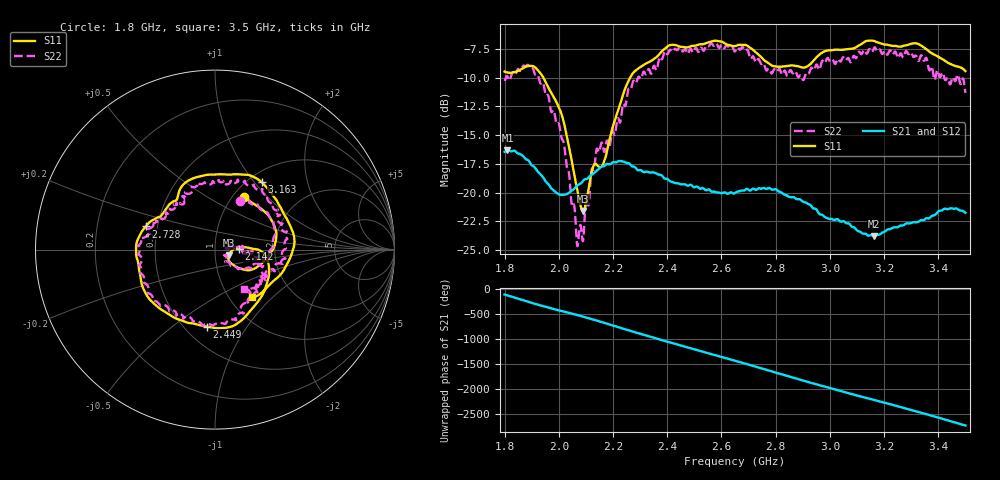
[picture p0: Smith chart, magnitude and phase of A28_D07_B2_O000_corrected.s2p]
! Created with skrf 1.9.0 (http://scikit-rf.org).
# Hz S RI R 50.0
!freq ReS11 ImS11 ReS21 ImS21 ReS12 ImS12 ReS22 ImS22
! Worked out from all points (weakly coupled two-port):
!   1601 points, 1.8 GHz to 3.5 GHz, reference 50 ohm
!   highest |S21| = -16.34 dB at 1.811 GHz (marker M1); lowest = -23.8 dB at 3.162 GHz (marker M2)
!   lowest |S11| = -21.6 dB at 2.09 GHz (marker M3), VSWR 1.18, Z = 58.2 - j3.63 ohm
!   |S11| at or under -10 dB: 1.943 GHz to 2.263 GHz (319.9 MHz wide, 15.2 % of centre)
!   |S22| runs from -24.7 to -7.0 dB; largest |S21 - S12| = 0.0028
!   S11 on the Smith chart (normalised r, x): 1.8 GHz: 1.13, +0.75; 2.142 GHz: 1.30, +0.01; 2.449 GHz: 0.64, -0.67; 2.728 GHz: 0.43, +0.13; 3.163 GHz: 1.15, +1.09; 3.5 GHz: 1.27, -0.76
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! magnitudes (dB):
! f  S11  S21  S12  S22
! 1.8 GHz  -9.5  -16.5  -16.4  -10.3
! 1.811 GHz  -9.5  -16.3  -16.3  -9.9
! 1.886 GHz  -9.0  -17.2  -17.2  -8.9
! 1.941 GHz  -9.9  -18.7  -18.7  -10.4
! 2.013 GHz  -13.4  -20.2  -20.2  -15.4
! 2.067 GHz  -19.6  -19.4  -19.4  -24.4
! 2.084 GHz  -21.4  -19.1  -19.1  -23.3
! 2.09 GHz  -21.6  -19.0  -19.0  -24.1
! 2.125 GHz  -17.9  -18.4  -18.4  -17.9
! 2.142 GHz  -17.6  -18.1  -18.1  -16.2
! 2.167 GHz  -17.3  -17.7  -17.7  -16.4
! 2.263 GHz  -10.0  -17.6  -17.6  -11.0
! 2.367 GHz  -8.1  -18.4  -18.4  -8.6
! 2.449 GHz  -7.3  -19.3  -19.3  -7.4
! 2.65 GHz  -7.2  -20.0  -20.0  -7.7
! 2.728 GHz  -7.8  -19.8  -19.8  -8.7
! 2.934 GHz  -8.7  -21.2  -21.2  -9.1
! 3.162 GHz  -6.8  -23.8  -23.7  -7.5
! 3.163 GHz  -6.8  -23.8  -23.7  -7.4
! 3.217 GHz  -7.2  -23.2  -23.2  -7.8
! 3.324 GHz  -7.0  -22.6  -22.5  -8.4
! 3.5 GHz  -9.4  -21.8  -21.8  -11.3
